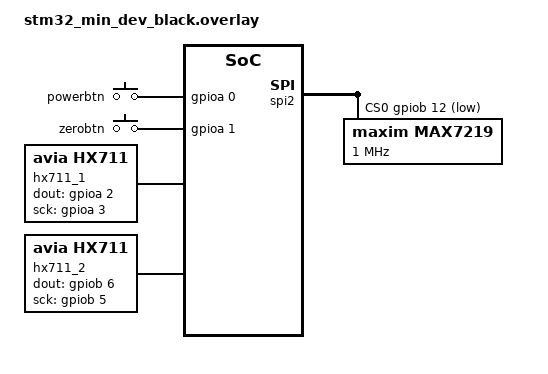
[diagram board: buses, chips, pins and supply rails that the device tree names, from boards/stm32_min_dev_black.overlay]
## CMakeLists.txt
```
# SPDX-License-Identifier: Apache-2.0

list(
  APPEND ZEPHYR_EXTRA_MODULES
  ${CMAKE_CURRENT_SOURCE_DIR}/hx711_driver
)

cmake_minimum_required(VERSION 3.20.0)

find_package(Zephyr HINTS $ENV{ZEPHYR_BASE})
project(weight-scale)

set(app_sources src/main.c src/weighting.c)
if(${SOC_SERIES} STREQUAL "stm32f1")
  list(APPEND app_sources src/board/stm32f1/pm.c)
endif()
target_sources(app PRIVATE ${app_sources})
```

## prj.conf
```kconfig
CONFIG_GPIO=y
CONFIG_CONSOLE=y
CONFIG_UART_CONSOLE=y
CONFIG_SERIAL=y
CONFIG_SPI=y
CONFIG_DISPLAY=y
CONFIG_MAX7219=y
CONFIG_SENSOR=y
CONFIG_HX711=y
CONFIG_PM=y
CONFIG_HX711_DISABLE_INTERRUPTS_WHILE_POLLING=y
```

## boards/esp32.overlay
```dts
&pinctrl {
	spim3_miso_gpio0: spim3_miso_gpio0 {
		pinmux = <SPIM3_MISO_GPIO0>;
	};

	spim3_mosi_gpio19: spim3_mosi_gpio19 {
		pinmux = <SPIM3_MOSI_GPIO19>;
	};
};

&spi3 {
	status = "okay";
	#address-cells = <1>;
	#size-cells = <0>;
	pinctrl-0 = <&spim3_miso_gpio0 &spim3_mosi_gpio19
		     &spim3_sclk_gpio18 &spim3_csel_gpio5>;

	/* Sitronix ST7789V LCD */
	st7789v: st7789v@1 {
		status = "okay";
		compatible = "sitronix,st7789v";
		reg = <1>;
		spi-max-frequency = <25000000>; /* 25MHz */
		label = "ST7789V";
		cmd-data-gpios = <&gpio0 16 GPIO_ACTIVE_LOW>;	/* DET */
		// reset-gpios = <&gpio0 23 GPIO_ACTIVE_LOW>;	/* RESX reset */
		width = <135>;
		height = <240>;
		x-offset = <52>;
		y-offset = <40>;
		vcom = <0x28>;
		gctrl = <0x35>;
		vrhs = <0x10>;
		vdvs = <0x20>;
		mdac = <0x00>;
		gamma = <0x01>;
		colmod = <0x55>;
		lcm = <0x0c>;
		porch-param = [0c 0c 00 33 33];
		cmd2en-param = [5a 69 02 01];
		pwctrl1-param = [a4 a1];
		pvgam-param = [D0 00 02 07 0A 28 32 44 42 06 0E 12 14 17];
		nvgam-param = [D0 00 02 07 0A 28 31 54 47 0E 1C 17 1B 1E];
		ram-param = [00 F0];
		rgb-param = [CD 08 14];
	};
};

/ {
	hx711: hx711 {
		compatible = "avia,hx711";
		status = "okay";
		label = "hx711";
		dout-gpios = <&gpio0 13 (GPIO_ACTIVE_HIGH | GPIO_PULL_UP) >;
		sck-gpios = <&gpio0 12 GPIO_ACTIVE_HIGH>;
	};

	aliases {
		gpio0 = &gpio0;
	};
};
```

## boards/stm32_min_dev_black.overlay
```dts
&spi2 {
	status = "okay";
	cs-gpios = <&gpiob 12 GPIO_ACTIVE_LOW>;

	max7219: max7219@0 {
		compatible = "maxim,max7219";
		status = "okay";
		reg = <0>;
		spi-max-frequency = <1000000>;
	};
};

&spi1 {
	status = "disabled";
};

&i2c1 {
	status = "disabled";
};

&i2c2 {
	status = "disabled";
};

/ {
	aliases {
		powerbtn = &powerbtn;
		zerobtn = &zerobtn;
	};

	keys {
		compatible = "gpio-keys";
		powerbtn: powerbtn {
			gpios = <&gpioa 0 (GPIO_ACTIVE_HIGH | GPIO_PULL_DOWN)>;
		};
		zerobtn: zerobtn {
			gpios = <&gpioa 1 (GPIO_ACTIVE_HIGH | GPIO_PULL_DOWN)>;
		};
	};

	hx711_1: hx711_1 {
		compatible = "avia,hx711";
		status = "okay";
		dout-gpios = <&gpioa 2 (GPIO_ACTIVE_HIGH | GPIO_PULL_UP)>;
		sck-gpios = <&gpioa 3 GPIO_ACTIVE_HIGH>;
	};

	hx711_2: hx711_2 {
		compatible = "avia,hx711";
		status = "okay";
		dout-gpios = <&gpiob 6 (GPIO_ACTIVE_HIGH | GPIO_PULL_UP)>;
		sck-gpios = <&gpiob 5 GPIO_ACTIVE_HIGH>;
	};
};
```

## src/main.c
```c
#include "weighting.h"

#include <stdio.h>
#include <stdlib.h>
#include <string.h>

#include <zephyr/device.h>
#include <zephyr/drivers/display.h>
#include <zephyr/drivers/gpio.h>
#include <zephyr/drivers/led.h>
#include <zephyr/drivers/sensor.h>
#include <zephyr/dt-bindings/dt-util.h>
#include <zephyr/pm/pm.h>

#define LOG_LEVEL CONFIG_LOG_DEFAULT_LEVEL
#include <zephyr/logging/log.h>
LOG_MODULE_REGISTER(app);

const static uint8_t characters[] = {
	[0] = 0b1111110,  // 0
	[1] = 0b0110000,  // 1
	[2] = 0b1101101,  // 2
	[3] = 0b1111001,  // 3
	[4] = 0b0110011,  // 4
	[5] = 0b1011011,  // 5
	[6] = 0b1011111,  // 6
	[7] = 0b1110000,  // 7
	[8] = 0b1111111,  // 8
	[9] = 0b1111011,  // 9
	[10] = 0b0000001, // -
};

static void show_weight(const struct device *max7219, double weight)
{
	uint8_t buf[8] = {0};
	uint8_t digits[9] = {0};

	const struct display_buffer_descriptor desc = {
		.buf_size = sizeof(buf),
		.width = 8,
		.height = 8,
		.pitch = 8,
	};

	weight += 0.05;

	int weight_int = (int)weight;

	int idx = 0;
	digits[idx++] = abs((int)((weight - (double)weight_int) * 10)) % 10;

	weight_int = abs(weight_int);
	while (weight_int > 0) {
		digits[idx++] = weight_int % 10;
		weight_int /= 10;
	}

	// if integral part is zero
	if (idx == 1) {
		digits[idx++] = 0;
	}

	// nagitive sign
	if (weight < 0) {
		digits[idx++] = 10;
	}

	for (int i = 0; i < idx; i++) {
		buf[i] = characters[digits[i]];
	}

	// dot
	buf[1] |= 1 << 7;

	display_write(max7219, 0, 0, &desc, buf);
}

static const struct gpio_dt_spec zero_button =
	GPIO_DT_SPEC_GET(DT_ALIAS(zerobtn), gpios);
static struct gpio_callback zero_button_cb_data;

static const struct gpio_dt_spec power_button =
	GPIO_DT_SPEC_GET(DT_ALIAS(powerbtn), gpios);
static struct gpio_callback power_button_cb_data;

static struct k_sem zero_sem;
static struct k_sem power_sem;

static void zero_button_pressed(const struct device *dev,
				struct gpio_callback *cb, uint32_t pins)
{
	printk("Zero button pressed at %" PRIu32 "\n", k_cycle_get_32());
	k_sem_give(&zero_sem);
}

static void power_button_pressed(const struct device *dev,
				 struct gpio_callback *cb, uint32_t pins)
{
	printk("Power button pressed at %" PRIu32 "\n", k_cycle_get_32());
	k_sem_give(&power_sem);
}

static int init_button(const struct gpio_dt_spec *button,
		       struct gpio_callback *cb_data,
		       gpio_callback_handler_t cb)
{
	if (!device_is_ready(button->port)) {
		printk("Error: button device %s is not ready\n",
		       button->port->name);
		return -ENOENT;
	}

	int ret = gpio_pin_configure_dt(button, GPIO_INPUT);
	if (ret != 0) {
		printk("Error %d: failed to configure %s pin %d\n", ret,
		       button->port->name, button->pin);
		return -EIO;
	}

	ret = gpio_pin_interrupt_configure_dt(button, GPIO_INT_EDGE_TO_ACTIVE);
	if (ret != 0) {
		printk("Error %d: failed to configure interrupt on %s pin %d\n",
		       ret, button->port->name, button->pin);
		return -EIO;
	}

	gpio_init_callback(cb_data, cb, BIT(button->pin));
	gpio_add_callback(button->port, cb_data);
	return 0;
}

void main(void)
{
	init_button(&zero_button, &zero_button_cb_data, zero_button_pressed);
	init_button(&power_button, &power_button_cb_data, power_button_pressed);
	k_sem_init(&zero_sem, 0, 1);
	k_sem_init(&power_sem, 0, 1);
}

void monitor(void)
{
	const struct device *max7219 = DEVICE_DT_GET(DT_NODELABEL(max7219));
	__ASSERT(max7219 == NULL, "Failed to get max7219 device binding");

	weighting_init();

	while (true) {
		int ret;
		double weight;

		ret = k_sem_take(&power_sem, K_NO_WAIT);
		if (ret == 0) {
			weighting_deinit();
			pm_state_force(0u, &(struct pm_state_info){
						   PM_STATE_SOFT_OFF, 0, 0});
			k_sleep(K_SECONDS(1));
		}

		ret = k_sem_take(&zero_sem, K_NO_WAIT);
		if (ret == 0) {
			weighting_tare();
		}

		ret = weighting_get(&weight);
		if (ret != 0) {
			LOG_ERR("Cannot take measurement: %d", ret);
			continue;
		}

		show_weight(max7219, weight);
		k_msleep(100);
	}
}

K_THREAD_DEFINE(monitor_id, 1024, monitor, NULL, NULL, NULL, -1, 0, 0);
```

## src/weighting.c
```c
#include "sensor/hx711/hx711.h"
#include "weighting.h"

#include <stdio.h>
#include <stdlib.h>
#include <string.h>

#include <zephyr/device.h>
#include <zephyr/drivers/sensor.h>
#include <zephyr/dt-bindings/dt-util.h>
#include <zephyr/pm/pm.h>

#define LOG_LEVEL CONFIG_LOG_DEFAULT_LEVEL
#include <zephyr/logging/log.h>
LOG_MODULE_REGISTER(weighting_sensor);

#define MOVING_MEDIAN_SIZE 8
#define NUM_HX711	   2

struct moving_median {
	double records[MOVING_MEDIAN_SIZE];
	int idx;
};

static void moving_median_init(struct moving_median *m)
{
	memset(m->records, 0, sizeof(m->records));
	m->idx = 0;
}

static void moving_median_put(struct moving_median *m, double value)
{
	m->records[m->idx] = value;
	m->idx = (m->idx + 1) % ARRAY_SIZE(m->records);
}

static int double_compare(const void *a, const void *b)
{
	double c = *(double *)a;
	double d = *(double *)b;
	if (c < d) {
		return -1;
	} else if (c == d) {
		return 0;
	} else {
		return 1;
	}
}

static double moving_median_get(struct moving_median *m)
{
	double sorted[MOVING_MEDIAN_SIZE];
	memcpy(sorted, m->records, sizeof(sorted));
	qsort(sorted, ARRAY_SIZE(sorted), sizeof(sorted[0]), double_compare);
	return sorted[ARRAY_SIZE(sorted) / 2];
}

struct weighting_sensor {
	struct moving_median mm;
	struct sensor_value slope;
	const struct device *hx711;
};

static struct weighting_sensor sensors[NUM_HX711];

int weighting_init(void)
{
	sensors[0].hx711 = DEVICE_DT_GET(DT_NODELABEL(hx711_1));
	sensors[1].hx711 = DEVICE_DT_GET(DT_NODELABEL(hx711_2));
	__ASSERT(sensors[0].hx711 == NULL,
		 "Failed to get hx711_1 device binding");
	__ASSERT(sensors[1].hx711 == NULL,
		 "Failed to get hx711_2 device binding");

	sensors[0].slope.val1 = 0;
	sensors[0].slope.val2 = 2116;
	sensors[1].slope.val1 = 0;
	sensors[1].slope.val2 = 1977;

	for (int i = 0; i < ARRAY_SIZE(sensors); i++) {
		moving_median_init(&sensors[i].mm);
		// FIXME: workaround
		// the first few values from hx711 are not precise sometimes
		avia_hx711_tare(sensors[i].hx711, 5);
		avia_hx711_tare(sensors[i].hx711, 5);
		sensor_attr_set(sensors[i].hx711,
				(enum sensor_channel)HX711_SENSOR_CHAN_WEIGHT,
				(enum sensor_attribute)HX711_SENSOR_ATTR_SLOPE,
				&sensors[i].slope);
	}

	return 0;
}

int weighting_deinit(void)
{
	for (int i = 0; i < ARRAY_SIZE(sensors); i++) {
		avia_hx711_power(sensors[i].hx711, HX711_POWER_OFF);
	}
	return 0;
}

int weighting_tare(void)
{
	for (int i = 0; i < ARRAY_SIZE(sensors); i++) {
		avia_hx711_tare(sensors[i].hx711, 5);
		moving_median_init(&sensors[0].mm);
	}
	return 0;
}

int weighting_get(double *weight)
{
	*weight = 0;
	for (int i = 0; i < ARRAY_SIZE(sensors); i++) {
		sensor_sample_fetch(sensors[i].hx711);

		struct sensor_value v;
		sensor_channel_get(
			sensors[i].hx711,
			(enum sensor_channel)HX711_SENSOR_CHAN_WEIGHT, &v);

		moving_median_put(&sensors[i].mm, sensor_value_to_double(&v));
		*weight += moving_median_get(&sensors[i].mm);
	}
	return 0;
}
```

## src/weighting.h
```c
#ifndef WEIGHTING_SCALE_SRC_WEIGHTING_H_
#define WEIGHTING_SCALE_SRC_WEIGHTING_H_

#ifdef __cplusplus
extern "C" {
#endif

int weighting_init(void);
int weighting_deinit(void);
int weighting_tare(void);
int weighting_get(double *weight);

#ifdef __cplusplus
}
#endif

#endif // WEIGHTING_SCALE_SRC_WEIGHTING_H_
```
